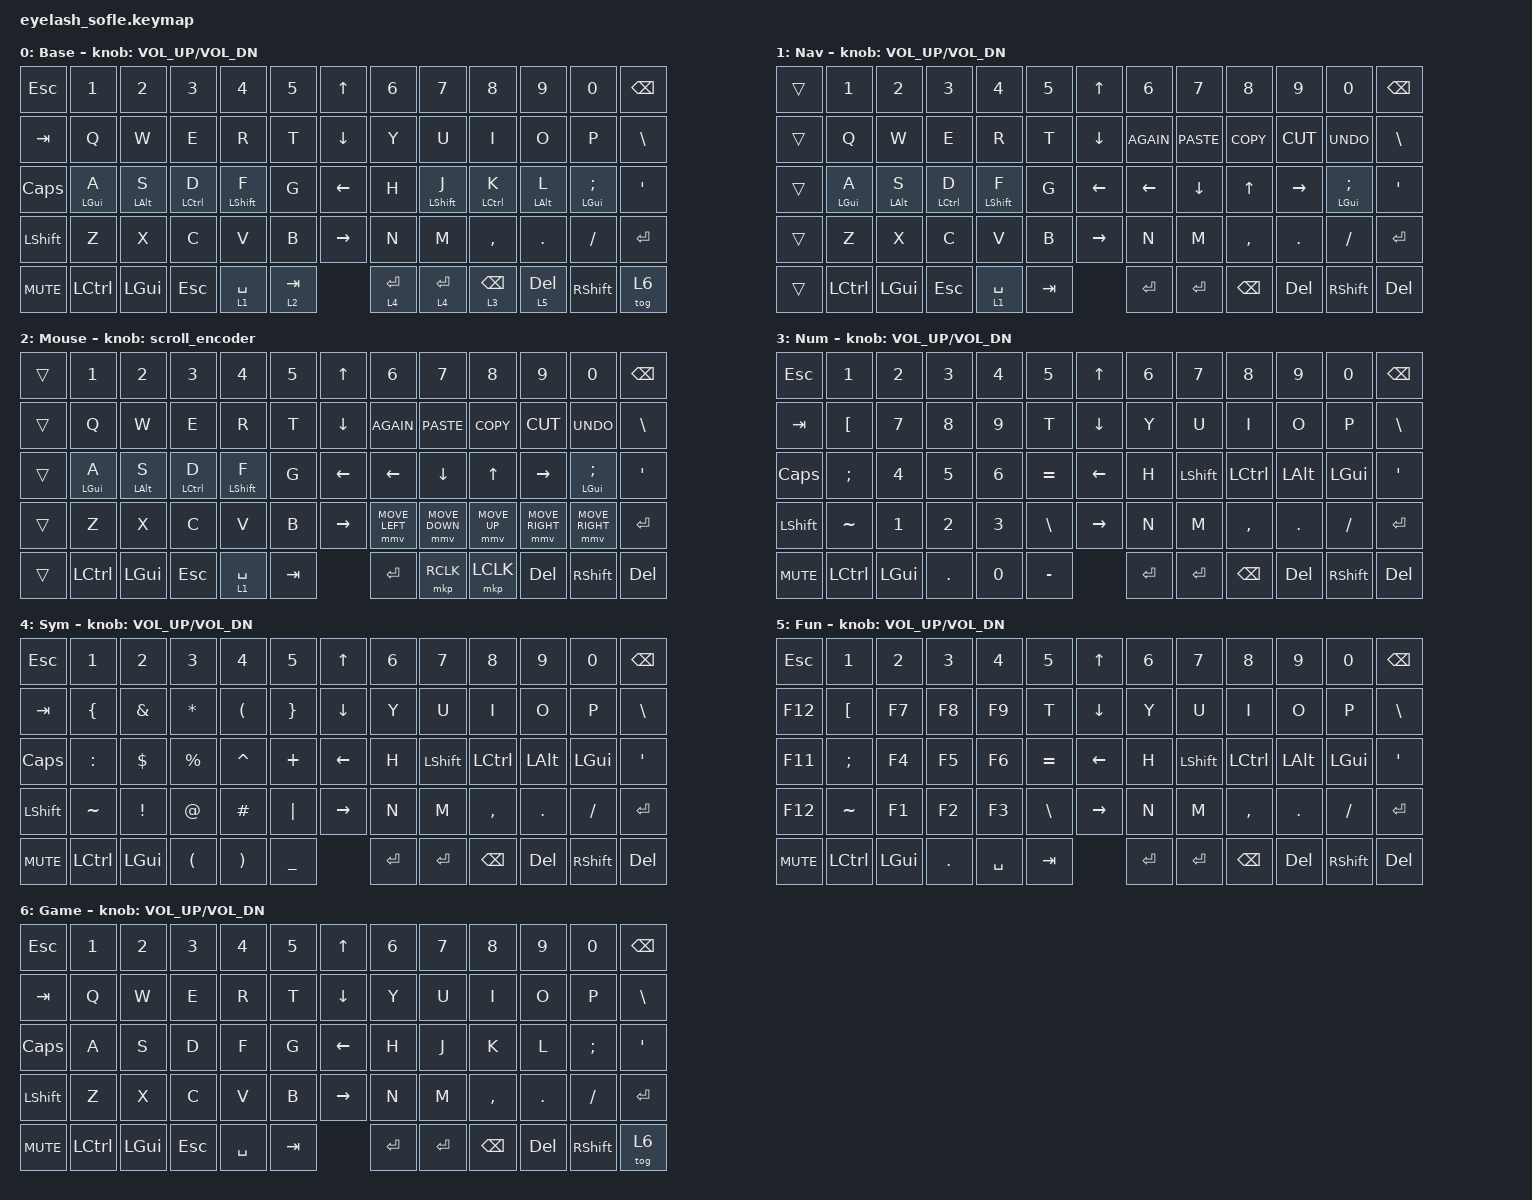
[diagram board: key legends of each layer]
#define ZMK_POINTING_DEFAULT_MOVE_VAL 1200  // 600
#define ZMK_POINTING_DEFAULT_SCRL_VAL 25   // 10

#include <input/processors.dtsi>
#include <zephyr/dt-bindings/input/input-event-codes.h>
#include <behaviors.dtsi>
#include <dt-bindings/zmk/bt.h>
#include <dt-bindings/zmk/keys.h>
#include <dt-bindings/zmk/outputs.h>
#include <dt-bindings/zmk/pointing.h>
#include <dt-bindings/zmk/rgb.h>

&mmv_input_listener { input-processors = <&zip_xy_scaler 2 1>; };

&msc_input_listener { input-processors = <&zip_scroll_scaler 2 1>; };

&msc {
    acceleration-exponent = <1>;      // 0
    time-to-max-speed-ms = <100>;       // 300
    delay-ms = <0>;                   // 0
};

&mmv {
    time-to-max-speed-ms = <500>;
    acceleration-exponent = <1>;
    trigger-period-ms = <16>;
};

&soft_off { hold-time-ms = <2000>; };

/ {
    scroll_encoder: scroll_encoder {
        compatible = "zmk,behavior-sensor-rotate";
        #sensor-binding-cells = <0>;
        bindings = <&msc SCRL_DOWN>, <&msc SCRL_UP>;

        tap-ms = <100>;
    };

    behaviors {
        hml: home_row_mod_left {
            compatible = "zmk,behavior-hold-tap";
            #binding-cells = <2>;
            flavor = "balanced";
            require-prior-idle-ms = <150>;
            tapping-term-ms = <280>;
            quick-tap-ms = <175>;
            bindings = <&kp>, <&kp>;
            hold-trigger-key-positions = <6 7 8 9 10 11 19 20 21 22 23 24 25 33 34 35 36 37 38 46 47 48 49 50 51 52 53 54 55 56 57>; // List of keys on the right side of the keyboard
            hold-trigger-on-release;
        };
        hmr: home_row_mod_right {
            compatible = "zmk,behavior-hold-tap";
            #binding-cells = <2>;
            flavor = "balanced";
            require-prior-idle-ms = <150>;
            tapping-term-ms = <280>;
            quick-tap-ms = <175>;
            bindings = <&kp>, <&kp>;
            hold-trigger-key-positions = <0 1 2 3 4 5 12 13 14 15 16 17 18 26 27 28 29 30 31 32 39 40 41 42 43 44 45 51 52 53 54>; // List of keys on the left side of the keyboard
            hold-trigger-on-release;
        };
 };
    keymap {
        compatible = "zmk,keymap";

        layer0 {
            bindings = <
&kp ESC     &kp N1     &kp N2        &kp N3        &kp N4  &kp N5       &kp UP_ARROW     &kp N6     &kp N7     &kp N8     &kp N9           &kp N0      &kp BACKSPACE
&kp TAB     &kp Q      &kp W         &kp E         &kp R   &kp T        &kp DOWN_ARROW   &kp Y      &kp U      &kp I      &kp O            &kp P       &kp BSLH
&kp CAPS    &hml LEFT_GUI A      &hml LALT S         &hml LCTRL D         &hml LSHIFT F   &kp G        &kp LEFT_ARROW   &kp H      &hmr LSHIFT J      &hmr LCTRL K      &hmr LALT L            &hmr LEFT_GUI  SEMI    &kp APOS
&kp LSHFT   &kp Z      &kp X         &kp C         &kp V   &kp B        &kp RIGHT_ARROW  &kp N      &kp M      &kp COMMA  &kp DOT          &kp FSLH    &kp ENTER
&kp C_MUTE  &kp LCTRL  &kp LEFT_GUI  &kp ESC  &lt 1 SPACE   &lt 2 TAB    &lt 4 ENTER        &lt 4 ENTER  &lt 3 BACKSPACE  &lt 5 DELETE      &kp RIGHT_SHIFT  &tog 6
            >;

            sensor-bindings = <&inc_dec_kp C_VOLUME_UP C_VOL_DN>;
            display-name = "Base";
        };

        layer_1 {
            bindings = <
&trans    &kp N1     &kp N2        &kp N3        &kp N4  &kp N5       &kp UP_ARROW     &kp N6     &kp N7     &kp N8     &kp N9           &kp N0      &kp BACKSPACE
&trans    &kp Q      &kp W         &kp E         &kp R   &kp T        &kp DOWN_ARROW   &kp K_AGAIN      &kp K_PASTE      &kp K_COPY      &kp K_CUT            &kp K_UNDO       &kp BSLH
&trans   &hml LEFT_GUI A      &hml LALT S         &hml LCTRL D         &hml LSHIFT F   &kp G        &kp LEFT_ARROW   &kp LEFT      &kp DOWN      &kp UP      &kp RIGHT            &hmr LEFT_GUI  SEMI    &kp APOS
&trans   &kp Z      &kp X         &kp C         &kp V   &kp B        &kp RIGHT_ARROW  &kp N      &kp M      &kp COMMA  &kp DOT          &kp FSLH    &kp ENTER
&trans  &kp LCTRL  &kp LEFT_GUI  &kp ESC  &lt 1 SPACE   &kp TAB    &kp ENTER        &kp ENTER  &kp BACKSPACE  &kp DELETE      &kp RIGHT_SHIFT  &kp DELETE
            >;

            sensor-bindings = <&inc_dec_kp C_VOLUME_UP C_VOL_DN>;
            display-name = "Nav";
        };

        layer_2 {
           bindings = <
&trans    &kp N1     &kp N2        &kp N3        &kp N4  &kp N5       &kp UP_ARROW     &kp N6     &kp N7     &kp N8     &kp N9           &kp N0      &kp BACKSPACE
&trans    &kp Q      &kp W         &kp E         &kp R   &kp T        &kp DOWN_ARROW   &kp K_AGAIN      &kp K_PASTE      &kp K_COPY      &kp K_CUT            &kp K_UNDO       &kp BSLH
&trans   &hml LEFT_GUI A      &hml LALT S         &hml LCTRL D         &hml LSHIFT F   &kp G        &kp LEFT_ARROW   &kp LEFT      &kp DOWN      &kp UP      &kp RIGHT            &hmr LEFT_GUI  SEMI    &kp APOS
&trans   &kp Z      &kp X         &kp C         &kp V   &kp B        &kp RIGHT_ARROW   &mmv  MOVE_LEFT       &mmv MOVE_DOWN     &mmv MOVE_UP  &mmv MOVE_RIGHT          &mmv MOVE_RIGHT    &kp ENTER
&trans  &kp LCTRL  &kp LEFT_GUI  &kp ESC  &lt 1 SPACE   &kp TAB    &kp ENTER         &mkp RCLK   &mkp LCLK   &kp DELETE      &kp RIGHT_SHIFT  &kp DELETE
            >;

            display-name = "Mouse";
            sensor-bindings = <&scroll_encoder>;
        };

        layer_3 {
            bindings = <
&kp ESC     &kp N1     &kp N2        &kp N3        &kp N4  &kp N5       &kp UP_ARROW     &kp N6     &kp N7     &kp N8     &kp N9           &kp N0      &kp BACKSPACE
&kp TAB     &kp LEFT_BRACKET      &kp N7         &kp N8         &kp N9   &kp T        &kp DOWN_ARROW   &kp Y      &kp U      &kp I      &kp O            &kp P       &kp BSLH
&kp CAPS    &kp SEMICOLON      &kp N4         &kp N5         &kp N6   &kp EQUAL        &kp LEFT_ARROW   &kp H      &kp LSHIFT      &kp LCTRL      &kp LALT            &kp LEFT_GUI    &kp APOS
&kp LSHFT   &kp TILDE      &kp N1         &kp N2         &kp N3   &kp BACKSLASH        &kp RIGHT_ARROW  &kp N      &kp M      &kp COMMA  &kp DOT          &kp FSLH    &kp ENTER
&kp C_MUTE  &kp LCTRL  &kp LEFT_GUI  &kp DOT  &kp N0   &kp MINUS    &kp ENTER        &kp ENTER  &kp BACKSPACE  &kp DELETE      &kp RIGHT_SHIFT  &kp DELETE
            >;

            sensor-bindings = <&inc_dec_kp C_VOLUME_UP C_VOL_DN>;
            display-name = "Num";
        };
        

        layer_4 {
                  bindings = <
&kp ESC     &kp N1     &kp N2        &kp N3        &kp N4  &kp N5       &kp UP_ARROW     &kp N6     &kp N7     &kp N8     &kp N9           &kp N0      &kp BACKSPACE
&kp TAB     &kp LEFT_BRACE      &kp AMPERSAND         &kp ASTERISK         &kp LEFT_PARENTHESIS   &kp RIGHT_BRACE        &kp DOWN_ARROW   &kp Y      &kp U      &kp I      &kp O            &kp P       &kp BSLH
&kp CAPS    &kp COLON      &kp DOLLAR         &kp PERCENT         &kp CARET   &kp PLUS        &kp LEFT_ARROW   &kp H      &kp LSHIFT      &kp LCTRL      &kp LALT            &kp LEFT_GUI    &kp APOS
&kp LSHFT   &kp TILDE      &kp EXCLAMATION         &kp AT_SIGN         &kp HASH   &kp PIPE        &kp RIGHT_ARROW  &kp N      &kp M      &kp COMMA  &kp DOT          &kp FSLH    &kp ENTER
&kp C_MUTE  &kp LCTRL  &kp LEFT_GUI  &kp LEFT_PARENTHESIS  &kp RIGHT_PARENTHESIS   &kp UNDERSCORE    &kp ENTER        &kp ENTER  &kp BACKSPACE  &kp DELETE      &kp RIGHT_SHIFT  &kp DELETE
            >;

            sensor-bindings = <&inc_dec_kp C_VOLUME_UP C_VOL_DN>;
            display-name = "Sym";
        };
        

        layer_5 {
            bindings = <
&kp ESC     &kp N1     &kp N2        &kp N3        &kp N4  &kp N5       &kp UP_ARROW     &kp N6     &kp N7     &kp N8     &kp N9           &kp N0      &kp BACKSPACE
&kp F12     &kp LEFT_BRACKET      &kp F7         &kp F8         &kp F9   &kp T        &kp DOWN_ARROW   &kp Y      &kp U      &kp I      &kp O            &kp P       &kp BSLH
&kp F11    &kp SEMICOLON      &kp F4         &kp F5         &kp F6   &kp EQUAL        &kp LEFT_ARROW   &kp H      &kp LSHIFT      &kp LCTRL      &kp LALT            &kp LEFT_GUI    &kp APOS
&kp F12   &kp TILDE      &kp F1         &kp F2         &kp F3   &kp BACKSLASH        &kp RIGHT_ARROW  &kp N      &kp M      &kp COMMA  &kp DOT          &kp FSLH    &kp ENTER
&kp C_MUTE  &kp LCTRL  &kp LEFT_GUI  &kp DOT  &kp SPACE   &kp TAB    &kp ENTER        &kp ENTER  &kp BACKSPACE  &kp DELETE      &kp RIGHT_SHIFT  &kp DELETE
            >;

            sensor-bindings = <&inc_dec_kp C_VOLUME_UP C_VOL_DN>;
            display-name = "Fun";
        };

        layer_6 {
            bindings = <
&kp ESC     &kp N1     &kp N2        &kp N3        &kp N4  &kp N5       &kp UP_ARROW     &kp N6     &kp N7     &kp N8     &kp N9           &kp N0      &kp BACKSPACE
&kp TAB     &kp Q      &kp W         &kp E         &kp R   &kp T        &kp DOWN_ARROW   &kp Y      &kp U      &kp I      &kp O            &kp P       &kp BSLH
&kp CAPS    &kp A      &kp S         &kp D         &kp F   &kp G        &kp LEFT_ARROW   &kp H      &kp J      &kp K      &kp L            &kp  SEMI    &kp APOS
&kp LSHFT   &kp Z      &kp X         &kp C         &kp V   &kp B        &kp RIGHT_ARROW  &kp N      &kp M      &kp COMMA  &kp DOT          &kp FSLH    &kp ENTER
&kp C_MUTE  &kp LCTRL  &kp LEFT_GUI  &kp ESC  &kp SPACE   &kp TAB    &kp ENTER        &kp ENTER  &kp BACKSPACE  &kp DELETE      &kp RIGHT_SHIFT  &tog 6
            >;

            sensor-bindings = <&inc_dec_kp C_VOLUME_UP C_VOL_DN>;
            display-name = "Game";
        };

        layer_7 {
            status = "reserved";
        bindings = <
&kp TILDE  &bt BT_SEL 0  &bt BT_SEL 1    &bt BT_SEL 2  &bt BT_SEL 3  &bt BT_SEL 4    &mmv MOVE_UP     &kp F6  &kp F7  &kp F8      &kp F9     &kp F10      &trans
&trans     &bt BT_CLR    &bt BT_CLR_ALL  &trans        &trans        &trans          &mmv MOVE_DOWN   &trans  &trans  &kp F11     &kp F12    &kp UNDER    &kp PLUS
&trans     &out OUT_USB  &out OUT_BLE    &trans        &trans        &trans          &mmv MOVE_LEFT   &trans  &trans  &trans      &trans     &kp LBRC     &kp RBRC
&trans     &sys_reset    &trans          &bootloader   &trans        &trans          &mmv MOVE_RIGHT  &trans  &trans  &sys_reset  &soft_off  &bootloader  &trans
&trans     &trans        &trans          &trans        &trans        &trans          &mkp LCLK        &trans  &trans  &trans      &trans     &trans
            >;
        };
    };
};
